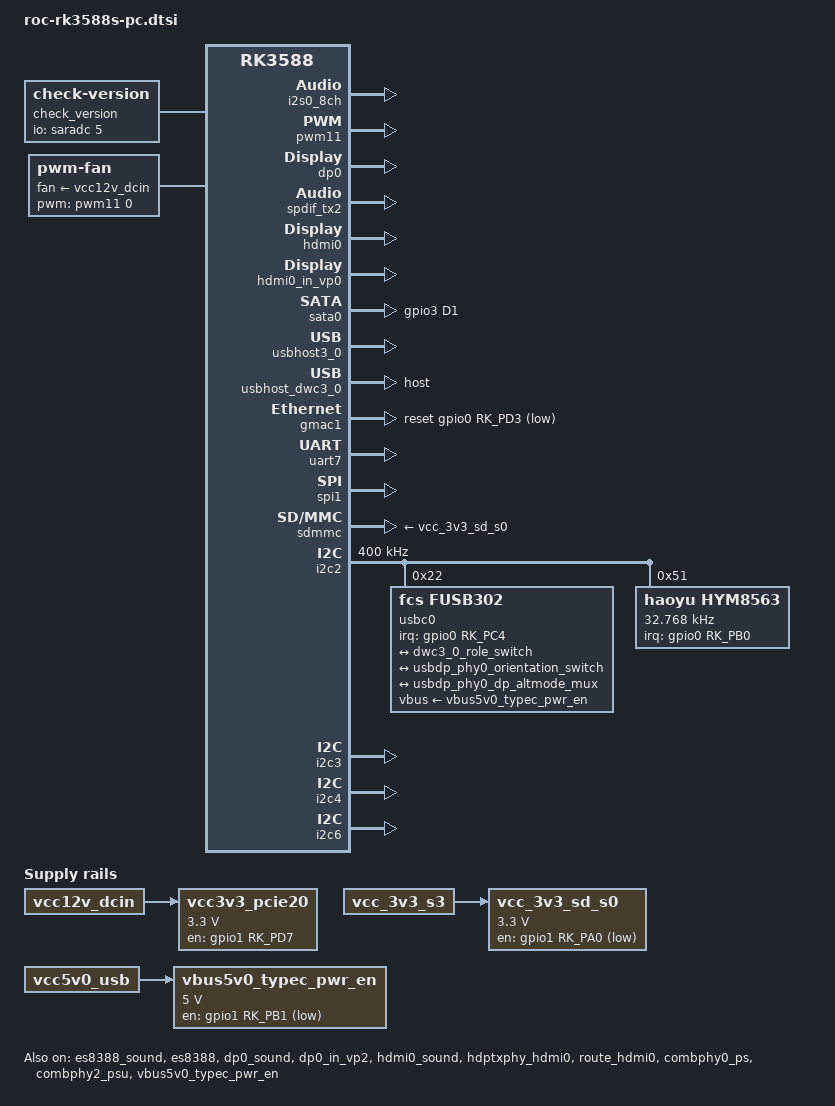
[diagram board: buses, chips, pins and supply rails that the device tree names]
// SPDX-License-Identifier: (GPL-2.0+ OR MIT)
/*
 * Copyright (c) 2021 Rockchip Electronics Co., Ltd.
 *
 */

#include "rk3588-firefly-port.dtsi"

#define M2_SATA_OR_PCIE 1 /*1 = SATA , 0 = PCIe */

/ {
	chosen: chosen {
		bootargs = "earlycon=uart8250,mmio32,0xfeb50000 console=ttyFIQ0 irqchip.gicv3_pseudo_nmi=0 root=PARTLABEL=rootfs rootfstype=ext4 ro rootwait overlayroot=device:dev=PARTLABEL=userdata,fstype=ext4,mkfs=1 coherent_pool=1m systemd.gpt_auto=0 cgroup_enable=memory swapaccount=1 net.ifnames=0";
	};
	
	/* "Check-Version" is for compatible with multiple devices. Delete it if you do not need it */
        check_version: check-version {
                compatible = "check-version";
		dtb-name = "roc-rk3588s-pc";
                u-boot,dm-pre-reloc;
                io-channels = <&saradc 5>;
                version-num = <3>;
                version-adc-range0 = <0 100>;
                version-dtb-path0 = "v10";
                version-adc-range1 = <1950 2150>;
                version-dtb-path1 = "v12";
                //version-adc-range2 = <3950 4150>;
                //version-dtb-path2 = "v13";
		//status = "disabled";
        };

	firefly_leds: leds {
		pinctrl-names = "default";
		pinctrl-0 =<&leds_gpio>;
		power_led: power {
			gpios = <&gpio1 RK_PD5 GPIO_ACTIVE_HIGH>;//blue led
		};

		user_led: user {
			gpios = <&gpio3 RK_PB2 GPIO_ACTIVE_HIGH>;//red led
		};

		user1_led: user1 {
			label = ":user1"; 
			default-state = "off";
			gpios = <&gpio3 RK_PC0 GPIO_ACTIVE_HIGH>;//green led
		};
	};

	fan: pwm-fan {
		compatible = "pwm-fan";
		#cooling-cells = <2>;
		fan-supply = <&vcc12v_dcin>;
		pwms = <&pwm11 0 50000 1>;
	};

	vcc3v3_pcie20: vcc3v3-pcie20 {
		compatible = "regulator-fixed";
		regulator-name = "vcc3v3_pcie20";
		regulator-min-microvolt = <3300000>;
		regulator-max-microvolt = <3300000>;
		regulator-always-on;
		enable-active-high;
		gpios = <&gpio1 RK_PD7 GPIO_ACTIVE_HIGH>;
		startup-delay-us = <5000>;
		vin-supply = <&vcc12v_dcin>;
	};

	vcc_3v3_sd_s0: vcc-3v3-sd-s0 {
		compatible = "regulator-fixed";
		regulator-name = "vcc_3v3_sd_s0";
		regulator-min-microvolt = <3300000>;
		regulator-max-microvolt = <3300000>;
		gpios = <&gpio1 RK_PA0 GPIO_ACTIVE_LOW>;
		enable-active-low;
		vin-supply = <&vcc_3v3_s3>;
			regulator-state-mem {
			regulator-off-in-suspend;
		};
	};
	lcd_rst: lcd_rst {
		status = "disabled";
		compatible = "regulator-fixed";
		regulator-name = "lcd_rst";
		regulator-boot-on;
		regulator-always-on;
		regulator-min-microvolt = <3300000>;
		regulator-max-microvolt = <3300000>;
		enable-active-high;
		gpio = <&gpio1 RK_PA1 GPIO_ACTIVE_HIGH>;
		startup-delay-us = <2000>;
		vin-supply = <&vcc12v_dcin>;
	};

	lcd_en: lcd_en {
		status = "disabled";
		compatible = "regulator-fixed";
		regulator-name = "lcd_en";
		regulator-boot-on;
		regulator-always-on;
		regulator-min-microvolt = <3300000>;
		regulator-max-microvolt = <3300000>;
		enable-active-high;
		gpio = <&gpio1 RK_PB3 GPIO_ACTIVE_HIGH>;
		vin-supply = <&vcc12v_dcin>;
	};

	firefly_wake {
		compatible = "firefly-wake";
		status = "okay";
	};
};

/* es8323 audio codec */
&es8388_sound {
	status = "okay";
	hp-det-gpio = <&gpio1 RK_PA6 GPIO_ACTIVE_LOW>;
	hp-con-gpio = <&gpio1 RK_PA4 GPIO_ACTIVE_HIGH>;

	/delete-property/ spk-con-gpio;
	
	io-channels = <&saradc 5>;
	io-channel-names = "hw-ver";
	rockchip,audio-routing =
			"Headphone", "LOUT2",
			"Headphone", "ROUT2",
			"Speaker", "LOUT1",
			"Speaker", "ROUT1",
			"Headphone", "Headphone Power",
			"Headphone", "Headphone Power",
			"LINPUT1", "Main Mic",
			"RINPUT1", "Main Mic",
			"LINPUT2", "Headset Mic",
			"RINPUT2", "Headset Mic";
	linein-type = <1>;
	pinctrl-names = "default";
	pinctrl-0 = <&hp_det>;
};

&es8388{
	status = "okay";
};

&i2s0_8ch{
	status = "okay";
};

/* fan */
&pwm11 {
	pinctrl-0 = <&pwm11m3_pins>;
	status = "okay";
};

/* display port0 */
&dp0_sound{
		status = "okay";
};

&dp0 {
	status = "okay";
};

&dp0_in_vp2 {
	status = "okay";
};

&spdif_tx2{
	status = "okay";
};

/* hdmi0 */
&hdmi0 {
	enable-gpios = <&gpio4 RK_PB2 GPIO_ACTIVE_HIGH>;
	status = "okay";
};

&hdmi0_in_vp0 {
	status = "okay";
};

&hdmi0_sound {
		status = "okay";
};

&hdptxphy_hdmi0 {
	status = "okay";
};

&route_hdmi0{
	status = "okay";
};

/* default use sata3.0 , pcie2.0 optional*/
&combphy0_ps {
	status = "okay";
};

#if M2_SATA_OR_PCIE
&sata0 {
    pinctrl-names = "default";
    pinctrl-0 = <&sata_reset>;
	status = "okay";
};
#else
&pcie2x1l2 {
	reset-gpios = <&gpio3 RK_PD1 GPIO_ACTIVE_HIGH>;
	vpcie3v3-supply = <&vcc3v3_pcie20>;
	status = "okay";
};
#endif

/* usb3.0 */
&combphy2_psu {
	status = "okay";
};

&usbhost3_0 {
	status = "okay";
};

&usbhost_dwc3_0 {
	status = "okay";
	dr_mode = "host";
};

&vcc5v0_host {
	status = "okay";
	/delete-property/ regulator-min-microvolt;
	/delete-property/ regulator-max-microvolt;
 	reset-delay-us = <200000>;
	startup-delay-us = <1200000>;
 	regulator-boot-on;
	gpio = <&gpio1 RK_PB6 GPIO_ACTIVE_HIGH>;
	pinctrl-names = "default";
	pinctrl-0 = <&vcc5v0_host_en>;
};

/* usb2.0 hub */
&vcc_hub_reset {
	status = "okay";
	gpio = <&gpio1 RK_PB0 GPIO_ACTIVE_HIGH>;
};

/* typec0 */
&vbus5v0_typec_pwr_en {
		status = "okay";
		regulator-min-microvolt = <5000000>;
		regulator-max-microvolt = <5000000>;
		gpio = <&gpio1 RK_PB1 GPIO_ACTIVE_HIGH>;
		vin-supply = <&vcc5v0_usb>;
		pinctrl-names = "default";
		pinctrl-0 = <&typec5v_pwren>;
};

&gmac1{
 	snps,reset-gpio = <&gpio0 RK_PD3 GPIO_ACTIVE_LOW>;
	tx_delay = <0x43>;
	status = "okay";
};

/* uart7 */
&uart7{
	pinctrl-0 = <&uart7m2_xfer>;
	status = "okay";
};

/* spi1 */
&spi1 {
	pinctrl-names = "default";
	pinctrl-0 = <&spi1m2_cs0 &spi1m2_pins>;
	num-cs = <1>;
	status = "okay";
};

/* PMIC spi2 */
&spi2 {
	pinctrl-names = "default";
	pinctrl-0 = <&spi2m2_cs0 &spi2m2_pins>;
	num-cs = <1>;
};

&sdmmc {
	status = "okay";
	vmmc-supply = <&vcc_3v3_sd_s0>;
};

&i2c2 {
	status = "okay";
	clock-frequency = <400000>; // For others Display Port Screen
	pinctrl-names = "default";
	pinctrl-0 = <&i2c2m0_xfer>;

	usbc0: fusb302@22 {
		compatible = "fcs,fusb302";
		reg = <0x22>;
		interrupt-parent = <&gpio0>;
		interrupts = <RK_PC4 IRQ_TYPE_LEVEL_LOW>;
		pinctrl-names = "default";
		pinctrl-0 = <&usbc0_int>;
		vbus-supply = <&vbus5v0_typec_pwr_en>;
		status = "okay";

		ports {
			#address-cells = <1>;
			#size-cells = <0>;

			port@0 {
				reg = <0>;
				usbc0_role_sw: endpoint@0 {
					remote-endpoint = <&dwc3_0_role_switch>;
				};
			};
		};

		usb_con: connector {
			compatible = "usb-c-connector";
			label = "USB-C";
			data-role = "dual";
			power-role = "dual";
			try-power-role = "sink";
			op-sink-microwatt = <1000000>;
			sink-pdos =
				<PDO_FIXED(5000, 1000, PDO_FIXED_USB_COMM)>;
			source-pdos =
				<PDO_FIXED(5000, 3000, PDO_FIXED_USB_COMM)>;

			altmodes {
				#address-cells = <1>;
				#size-cells = <0>;

				altmode@0 {
					reg = <0>;
					svid = <0xff01>;
					vdo = <0xffffffff>;
				};
			};

			ports {
				#address-cells = <1>;
				#size-cells = <0>;

				port@0 {
					reg = <0>;
					usbc0_orien_sw: endpoint {
						remote-endpoint = <&usbdp_phy0_orientation_switch>;
					};
				};

				port@1 {
					reg = <1>;
					dp_altmode_mux: endpoint {
						remote-endpoint = <&usbdp_phy0_dp_altmode_mux>;
					};
				};
			};
		};
	};

	hym8563: hym8563@51 {
		compatible = "haoyu,hym8563";
		reg = <0x51>;
		#clock-cells = <0>;
		clock-frequency = <32768>;
		clock-output-names = "hym8563";
		pinctrl-names = "default";
		pinctrl-0 = <&hym8563_int>;
		interrupt-parent = <&gpio0>;
		interrupts = <RK_PB0 IRQ_TYPE_LEVEL_LOW>;
		wakeup-source;
		status = "okay";
	};
};

&i2c3 {
	status = "okay";
};

&i2c4 {
	status = "okay";
	pinctrl-names = "default";
	pinctrl-0 = <&i2c4m3_xfer>;
};

&i2c5 {
	status = "disabled";
};

&i2c6 {
	status = "okay";
   	pinctrl-names = "default";
    pinctrl-0 = <&i2c6m3_xfer>;
};

&usbdp_phy0 {
	sbu1-dc-gpios = <&gpio4 RK_PB5 GPIO_ACTIVE_HIGH>;
	sbu2-dc-gpios = <&gpio4 RK_PA7 GPIO_ACTIVE_HIGH>;
};

&pinctrl {
	leds {
		leds_gpio: leds-gpio {
			rockchip,pins =
				/* led_user */
				<3 RK_PB2 RK_FUNC_GPIO &pcfg_pull_none>,
				/* led_power */
				<1 RK_PD5 RK_FUNC_GPIO &pcfg_pull_none>,
				/* led_user1 */
				<3 RK_PC0 RK_FUNC_GPIO &pcfg_pull_none>;
		};
	};

	headphone {
		hp_det: hp-det {
			rockchip,pins = <1 RK_PA6 RK_FUNC_GPIO &pcfg_pull_none>;
		};
	};

	hym8563 {
		hym8563_int: hym8563-int {
			rockchip,pins = <0 RK_PB0 RK_FUNC_GPIO &pcfg_pull_up>;
		};
	};

	usb {
		vcc5v0_host_en: vcc5v0-host-en {
			rockchip,pins = <1 RK_PB6 RK_FUNC_GPIO &pcfg_pull_none>;
		};
	};

	usb-typec {
		usbc0_int: usbc0-int {
			rockchip,pins = <0 RK_PC4 RK_FUNC_GPIO &pcfg_pull_up>;
		};

		typec5v_pwren: typec5v-pwren {
			rockchip,pins = <1 RK_PB1 RK_FUNC_GPIO &pcfg_pull_none>;
		};
	};
#if M2_SATA_OR_PCIE
	sata {
		sata_reset:sata-reset{
			rockchip,pins = <3 RK_PD1 RK_FUNC_GPIO &pcfg_pull_up>;
		};
	};
#endif
};

// for fan when deep sleep
&vdd_log_s0{
       regulator-state-mem {
               regulator-on-in-suspend;
               regulator-suspend-microvolt = <750000>;
       };
};

&avcc_1v8_s0{
       regulator-state-mem {
               regulator-on-in-suspend;
			   regulator-suspend-microvolt = <1800000>;
       };
};

&vcc_1v8_s0{
       regulator-state-mem {
               regulator-on-in-suspend;
               regulator-suspend-microvolt = <1800000>;
       };
};

// for usb wakeup when deep sleep
&avdd_0v75_s0{
		regulator-state-mem {
			regulator-on-in-suspend;
			regulator-suspend-microvolt = <750000>;
		};
};

&vcc_3v3_s0{
		regulator-state-mem {
			regulator-on-in-suspend;
			regulator-suspend-microvolt = <3300000>;
		};
};

&rockchip_suspend{
	rockchip,sleep-debug-en = <0>;
	rockchip,sleep-mode-config = <
		(0
		| RKPM_SLP_ARMOFF_DDRPD
		)
	>;
	rockchip,wakeup-config = <
		(0
		| RKPM_GPIO_WKUP_EN
		| RKPM_USB_WKUP_EN
		)
	>;
};
